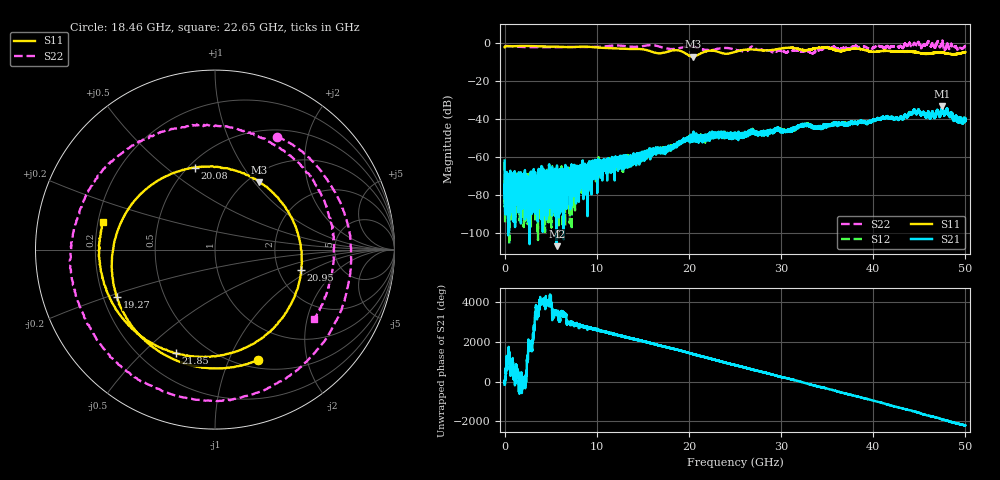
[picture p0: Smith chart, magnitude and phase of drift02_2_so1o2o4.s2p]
!Created with skrf (http://scikit-rf.org).
# Hz S RI R 50.0
!freq ReS11 ImS11 ReS21 ImS21 ReS12 ImS12 ReS22 ImS22
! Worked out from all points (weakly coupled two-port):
!   10001 points, 300 kHz to 50 GHz, reference 50 ohm
!   highest |S21| = -33.29 dB at 47.51 GHz (marker M1); lowest = -107.2 dB at 5.65 GHz (marker M2)
!   lowest |S11| = -7.0 dB at 20.42 GHz (marker M3), VSWR 2.63, Z = 56.5 + j53 ohm
!   |S11| at or under -10 dB: nowhere
!   |S22| runs from -5.3 to 1.6 dB; largest |S21 - S12| = 0.005
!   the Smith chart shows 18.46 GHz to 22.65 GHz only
!   S11 on the Smith chart (normalised r, x): 18.46 GHz: 0.59, -1.28; 19.27 GHz: 0.26, -0.21; 20.08 GHz: 0.54, +0.63; 20.95 GHz: 2.67, -0.80; 21.85 GHz: 0.34, -0.63; 22.65 GHz: 0.22, +0.12
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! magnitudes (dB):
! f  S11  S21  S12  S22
! 300 kHz  -2.1  -61.9  -62.6  -1.3
! 255.3 MHz  -1.4  -71.2  -70.4  -1.4
! 475.3 MHz  -1.4  -99.3  -74.3  -1.4
! 5.65 GHz  -1.7  -107.2  -77.1  -2.0
! 8.335 GHz  -1.7  -69.7  -70.1  -1.9
! 16.67 GHz  -5.2  -56.6  -57.9  -1.5
! 18.46 GHz  -3.6  -54.0  -54.3  -2.9
! 19.27 GHz  -4.3  -51.7  -51.8  -2.2
! 20.08 GHz  -6.6  -49.4  -49.8  -1.6
! 20.42 GHz  -7.0  -50.8  -49.8  -1.7
! 20.95 GHz  -6.1  -50.4  -49.2  -2.3
! 21.85 GHz  -4.2  -49.6  -49.9  -3.5
! 22.65 GHz  -3.9  -48.6  -48.0  -3.4
! 25 GHz  -4.5  -47.7  -48.8  -3.3
! 26.11 GHz  -3.3  -48.5  -47.9  -4.4
! 26.89 GHz  -3.2  -46.6  -46.8  -1.7
! 33.34 GHz  -3.0  -44.2  -43.9  -5.2
! 34.92 GHz  -2.3  -44.6  -43.4  -2.2
! 41.67 GHz  -4.0  -39.2  -39.2  -2.3
! 44.63 GHz  -4.7  -36.6  -36.8  -0.7
! 47.51 GHz  -4.9  -33.3  -34.0  1.2
! 50 GHz  -4.6  -39.7  -40.7  -1.4
